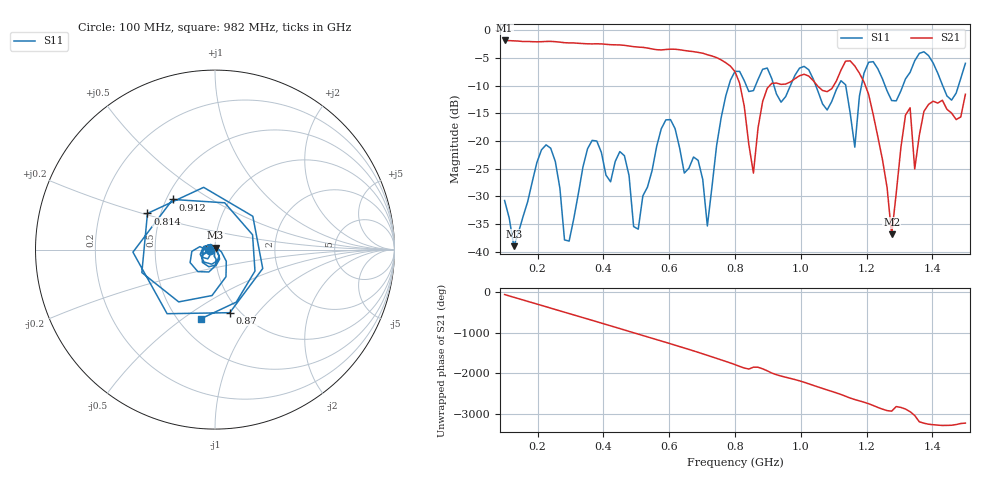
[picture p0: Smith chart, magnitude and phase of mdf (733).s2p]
! NanoVNA-App
! Date: 2025-09-25 15:44:07
! Start: 100MHz Stop: 1,5GHz Points: 101
! S-Parameter data: F S11 S21 S12 S22
# Hz S RI R 50
!  Frequency  S11_Real  S11_Imag  S21_Real  S21_Imag  S12_Real  S12_Imag  S22_Real  S22_Imag
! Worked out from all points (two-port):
!   101 points, 100 MHz to 1.5 GHz, reference 50 ohm
!   highest |S21| = -1.80 dB at 100 MHz (marker M1); lowest = -36.9 dB at 1.276 GHz (marker M2)
!   |S21| within 3 dB of the highest: start of sweep to 739.4 MHz
!   lowest |S11| = -39.0 dB at 128 MHz (marker M3), VSWR 1.02, Z = 50.3 + j1.08 ohm
!   |S11| at or under -10 dB: start of sweep to 781 MHz; 918.4 MHz to 968.1 MHz (49.71 MHz wide, 5.27 % of centre); 1.046 GHz to 1.114 GHz (68.3 MHz wide, 6.33 % of centre) (the widest 3 of 7)
!   S12 and S22 are empty: the file has one direction only
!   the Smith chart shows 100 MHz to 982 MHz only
!   S11 on the Smith chart (normalised r, x): 100 MHz: 0.94, -0.01; 814 MHz: 0.42, +0.21; 870 MHz: 0.90, -0.73; 912 MHz: 0.54, +0.35; 982 MHz: 0.64, -0.59
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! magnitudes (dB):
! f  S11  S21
! 100 MHz  -30.7  -1.8
! 128 MHz  -39.0  -1.9
! 212 MHz  -21.6  -2.0
! 282 MHz  -37.9  -2.2
! 338 MHz  -24.7  -2.4
! 464 MHz  -22.6  -2.7
! 506 MHz  -35.9  -3.0
! 576 MHz  -17.8  -3.5
! 716 MHz  -35.3  -4.4
! 800 MHz  -7.4  -7.4
! 814 MHz  -7.4  -9.5
! 856 MHz  -10.9  -25.8
! 870 MHz  -8.9  -17.6
! 912 MHz  -8.7  -9.5
! 982 MHz  -8.1  -8.7
! 1.038 GHz  -8.8  -9.1
! 1.164 GHz  -21.1  -6.4
! 1.192 GHz  -7.7  -9.3
! 1.276 GHz  -12.7  -36.9
! 1.318 GHz  -8.8  -15.3
! 1.346 GHz  -5.5  -25.0
! 1.5 GHz  -5.9  -11.5
